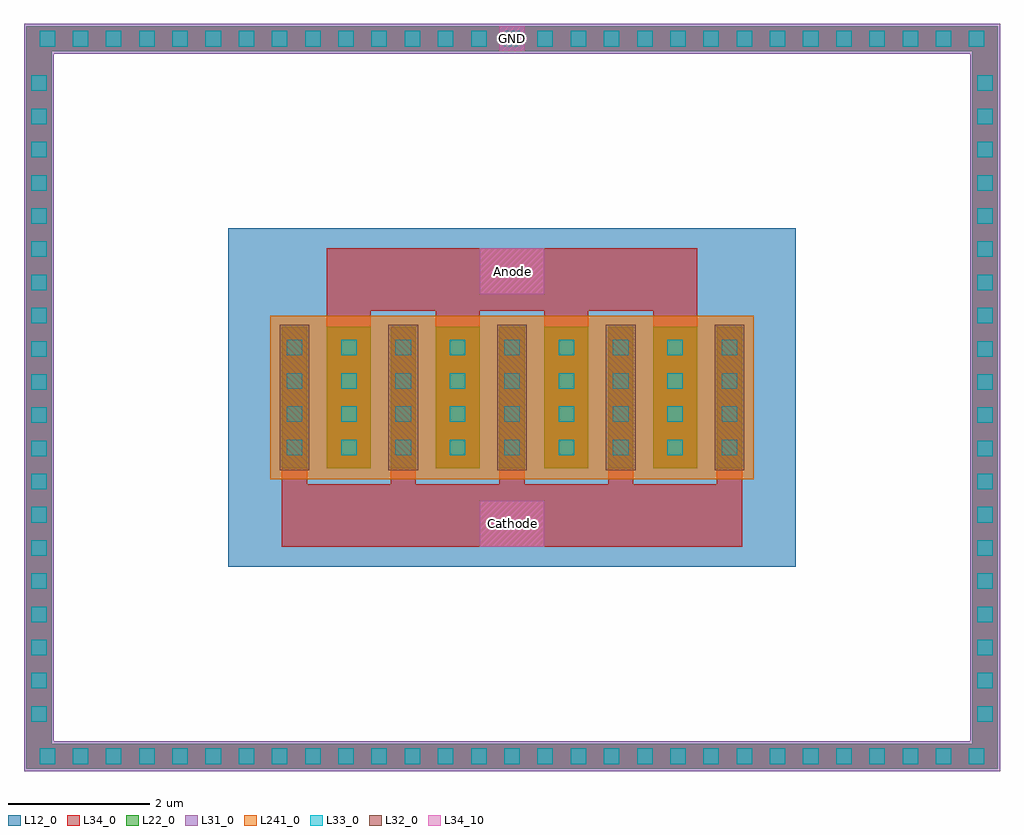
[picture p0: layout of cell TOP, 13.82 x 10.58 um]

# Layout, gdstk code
import gdstk
lib = gdstk.Library(unit=1e-6, precision=1e-09)
def R(c, l, rs):  # rectangles x0, y0, x1, y1
    for r in rs: c.add(gdstk.rectangle(r[:2], r[2:], *l))
def A(c, l, x, y, w, h, nx, ny, dx, dy):  # array of equal rectangles
    R(c, l, [(x+i*dx, y+j*dy, x+i*dx+w, y+j*dy+h) for i in range(nx) for j in range(ny)])
def P(c, l, *ps):  # polygons
    for p in ps: c.add(gdstk.Polygon(p, *l))
L12_0 = (12, 0)
L22_0 = (22, 0)
L31_0 = (31, 0)
L32_0 = (32, 0)
L33_0 = (33, 0)
L34_0 = (34, 0)
L34_10 = (34, 10)
L241_0 = (241, 0)

sc_diode = lib.new_cell('sc_diode')
R(sc_diode, L12_0, [(-0.76,-1.4,7.28,3.4)])
A(sc_diode, L22_0, 0, 0, 0.36, 2, 5, 1, 1.54, 0)
A(sc_diode, L22_0, 0.64, 0, 0.62, 2, 4, 1, 1.54, 0)
P(sc_diode, L22_0, [(-3.62,-4.26),(-3.62,5.9),(-3.26,5.9),(-3.26,-3.9),(9.78,-3.9),(9.78,5.9),(-3.62,5.9),(-3.62,6.26),(10.14,6.26),(10.14,-4.26)])
P(sc_diode, L31_0, [(-3.65,-4.29),(-3.65,5.87),(-3.23,5.87),(-3.23,-3.87),(9.75,-3.87),(9.75,5.87),(-3.65,5.87),(-3.65,6.29),(10.17,6.29),(10.17,-4.29)])
A(sc_diode, L32_0, -0.03, -0.03, 0.42, 2.06, 5, 1, 1.54, 0)
A(sc_diode, L33_0, 0.07, 0.185, 0.22, 0.22, 9, 4, 0.77, 0.47)
A(sc_diode, L34_0, 0, -0.23, 0.36, 2.23, 5, 1, 1.54, 0)
A(sc_diode, L34_0, 0.64, 0, 0.62, 2.23, 4, 1, 1.54, 0)
R(sc_diode, L34_0, [(0,-0.46,6.52,-0.23), (0.64,2.23,5.88,2.46)])
R(sc_diode, L241_0, [(-0.16,-0.16,6.68,2.16)])

top = lib.new_cell('TOP')
A(top, L33_0, 0.22, 0.1, 0.22, 0.22, 29, 2, 0.47, 10.16)
A(top, L33_0, 0.1, 0.7, 0.22, 0.22, 1, 20, 0, 0.47)
A(top, L33_0, 13.5, 0.7, 0.22, 0.22, 1, 20, 0, 0.47)
R(top, L34_0, [(3.65,3.18,10.17,3.83), (4.29,6.75,9.53,7.4)])
P(top, L34_0, [(0.03,0.03),(0.03,10.55),(0.39,10.55),(0.39,0.39),(13.43,0.39),(13.43,10.19),(0.39,10.19),(0.39,10.55),(13.79,10.55),(13.79,0.03)])
R(top, L34_10, [(6.45,3.18,7.37,3.83), (6.45,6.75,7.37,7.4), (6.73,10.19,7.09,10.55)])
top.add(gdstk.Reference(sc_diode, (3.65,4.29)))
top.add(gdstk.Label('Anode', (6.91,7.075), layer=34, texttype=10))
top.add(gdstk.Label('Cathode', (6.91,3.505), layer=34, texttype=10))
top.add(gdstk.Label('GND', (6.91,10.37), layer=34, texttype=10))

lib.write_gds('TOP.gds')
